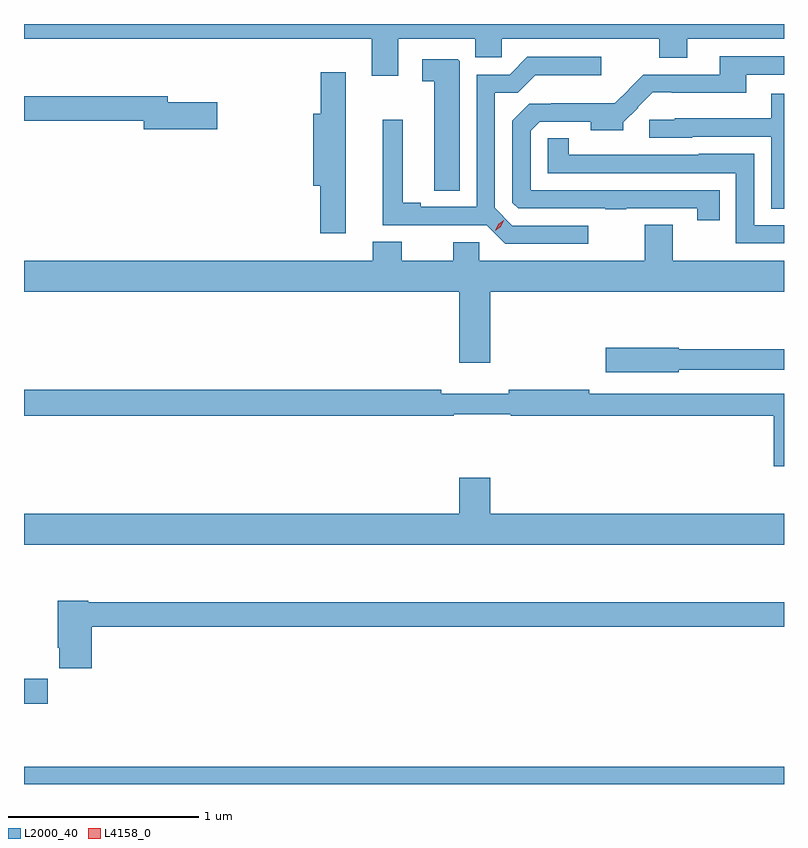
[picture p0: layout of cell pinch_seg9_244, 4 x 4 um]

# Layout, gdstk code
import gdstk
lib = gdstk.Library(unit=1e-6, precision=1e-09)
def R(c, l, rs):  # rectangles x0, y0, x1, y1
    for r in rs: c.add(gdstk.rectangle(r[:2], r[2:], *l))
def P(c, l, *ps):  # polygons
    for p in ps: c.add(gdstk.Polygon(p, *l))
L2000_40 = (2000, 40)
L4158_0 = (4158, 0)

pinch_seg9_244 = lib.new_cell('pinch_seg9_244')
R(pinch_seg9_244, L2000_40, [(462.417,1215.142,466.417,1215.232), (462.417,1215.565,462.543,1215.695)])
P(pinch_seg9_244, L2000_40, [(462.417,1219.064),(464.246,1219.064),(464.246,1218.87),(464.386,1218.87),(464.386,1219.064),(464.792,1219.064),(464.792,1218.966),(464.931,1218.966),(464.931,1219.064),(465.76,1219.064),(465.76,1218.965),(465.907,1218.965),(465.907,1219.064),(466.417,1219.064),(466.417,1219.142),(462.417,1219.142)],
  [(466.079,1218.267),(465.084,1218.267),(465.084,1218.579),(465.132,1218.627),(465.401,1218.627),(465.401,1218.584),(465.572,1218.584),(465.572,1218.624),(465.651,1218.702),(465.648,1218.705),(465.725,1218.782),(465.826,1218.782),(465.826,1218.779),(466.219,1218.779),(466.219,1218.876),(466.417,1218.876),(466.417,1218.972),(466.079,1218.972),(466.079,1218.876),(465.675,1218.876),(465.599,1218.799),(465.601,1218.797),(465.527,1218.724),(465.193,1218.724),(465.193,1218.722),(465.077,1218.722),(464.988,1218.633),(464.988,1218.201),(465.018,1218.171),(465.475,1218.171),(465.475,1218.166),(465.587,1218.166),(465.587,1218.171),(465.961,1218.171),(465.961,1218.108),(466.079,1218.108)],
  [(465.388,1218.081),(464.988,1218.081),(464.895,1218.174),(464.895,1218.781),(465.016,1218.781),(465.107,1218.872),(465.454,1218.872),(465.454,1218.969),(465.066,1218.969),(464.973,1218.876),(464.799,1218.876),(464.799,1218.18),(464.506,1218.18),(464.506,1218.2),(464.41,1218.2),(464.41,1218.637),(464.306,1218.637),(464.306,1218.084),(464.852,1218.084),(464.951,1217.985),(465.388,1217.985)],
  [(464.71,1218.947),(464.7,1218.957),(464.514,1218.957),(464.514,1218.841),(464.576,1218.841),(464.576,1218.265),(464.71,1218.265)],
  [(464.11,1218.889),(463.979,1218.889),(463.979,1218.67),(463.94,1218.67),(463.94,1218.29),(463.976,1218.29),(463.976,1218.042),(464.11,1218.042)],
  [(466.417,1218.775),(466.349,1218.775),(466.349,1218.646),(465.843,1218.646),(465.843,1218.639),(465.708,1218.639),(465.708,1218.543),(465.933,1218.543),(465.933,1218.549),(466.35,1218.549),(466.35,1218.169),(466.417,1218.169)],
  [(463.435,1218.729),(463.174,1218.729),(463.174,1218.763),(462.417,1218.763),(462.417,1218.634),(463.046,1218.634),(463.046,1218.587),(463.435,1218.587)],
  [(466.417,1218.084),(466.26,1218.084),(466.26,1218.46),(465.969,1218.46),(465.969,1218.453),(465.537,1218.453),(465.537,1218.454),(465.283,1218.454),(465.283,1218.542),(465.174,1218.542),(465.174,1218.357),(466.164,1218.357),(466.164,1217.988),(466.417,1217.988)],
  [(464.872,1217.732),(466.417,1217.732),(466.417,1217.896),(465.831,1217.896),(465.831,1218.086),(465.683,1218.086),(465.683,1217.896),(464.814,1217.896),(464.814,1217.994),(464.675,1217.994),(464.675,1217.896),(464.404,1217.896),(464.404,1217.995),(464.252,1217.995),(464.252,1217.896),(462.417,1217.896),(462.417,1217.732),(464.708,1217.732),(464.708,1217.358),(464.872,1217.358)],
  [(465.864,1217.322),(466.417,1217.322),(466.417,1217.431),(465.864,1217.431),(465.864,1217.439),(465.48,1217.439),(465.48,1217.309),(465.864,1217.309)],
  [(466.417,1217.196),(465.392,1217.196),(465.392,1217.216),(464.968,1217.216),(464.968,1217.197),(464.612,1217.197),(464.612,1217.216),(462.417,1217.216),(462.417,1217.08),(464.68,1217.08),(464.68,1217.088),(464.98,1217.088),(464.98,1217.08),(466.364,1217.08),(466.364,1216.815),(466.417,1216.815)],
  [(466.417,1216.564),(464.872,1216.564),(464.872,1216.753),(464.708,1216.753),(464.708,1216.564),(462.417,1216.564),(462.417,1216.4),(466.417,1216.4)],
  [(462.773,1215.97),(466.417,1215.97),(466.417,1216.099),(462.756,1216.099),(462.756,1216.107),(462.595,1216.107),(462.595,1215.859),(462.603,1215.859),(462.603,1215.75),(462.773,1215.75)])
P(pinch_seg9_244, L4158_0, [(464.896,1218.055),(464.896,1218.055),(464.912,1218.089),(464.943,1218.11),(464.943,1218.11),(464.943,1218.109),(464.927,1218.076),(464.896,1218.055)])

lib.write_gds('pinch_seg9_244.gds')
